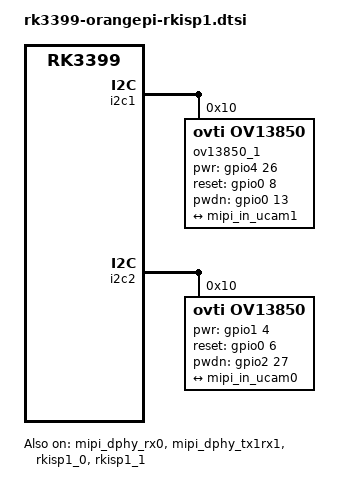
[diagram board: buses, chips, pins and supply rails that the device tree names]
/*
* This program is free software; you can redistribute it and/or
* modify it under the terms of the GNU General Public License
* as published by the Free Software Foundation; either version 2
* of the License, or (at your option) any later version.
*
* This program is distributed in the hope that it will be useful,
* but WITHOUT ANY WARRANTY; without even the implied warranty of
* MERCHANTABILITY or FITNESS FOR A PARTICULAR PURPOSE. See the
* GNU General Public License for more details.
*
* You should have received a copy of the GNU General Public License
* along with this program; if not, you can access it online at
* http://www.gnu.org/licenses/gpl-2.0.html.
*/


&i2c1 {
	 vm149c: vm149c@0c {
                compatible = "silicon touch,vm149c";
                status = "disable";
                reg = <0x0c>;
                rockchip,camera-module-index = <0>;
                rockchip,camera-module-facing = "back";
        };
        ov13850_1: ov13850@10 {
                compatible = "ovti,ov13850";
                status = "okay";
                reg = <0x10>;
                clocks = <&cru SCLK_CIF_OUT>;
                clock-names = "xvclk";

                /* conflict with csi-ctl-gpios */
                pwr-gpios = <&gpio4 26 GPIO_ACTIVE_HIGH>;
                reset-gpios = <&gpio0 8 GPIO_ACTIVE_HIGH>;
                pwdn-gpios = <&gpio0 13 GPIO_ACTIVE_HIGH>;
                pinctrl-names = "rockchip,camera_default";
                pinctrl-0 = <&cif_clkout>;
                rockchip,camera-module-index = <0>;
                rockchip,camera-module-facing = "back";
                rockchip,camera-module-name = "CMK-CT0116";
                rockchip,camera-module-lens-name = "Largan-50013A1";
//		lens-focus = <&vm149c>;

                port {
                        ucam_out1: endpoint {
                                remote-endpoint = <&mipi_in_ucam1>;
                                data-lanes = <1 2>;
                        };
                };
        };
};
&i2c2 {
	 vm149c_1: vm149c@0c {
                compatible = "silicon touch,vm149c";
                status = "disable";
                reg = <0x0c>;
		rockchip,vcm-start-current = <0>;
		rockchip,vcm-rated-current = <100>;
		rockchip,vcm-step-mode = <4>;
                rockchip,camera-module-index = <0>;
                rockchip,camera-module-facing = "back";
        };
        ov13850: ov13850@10 {
                compatible = "ovti,ov13850";
                status = "okay";
                reg = <0x10>;
                clocks = <&cru SCLK_CIF_OUT>;
                clock-names = "xvclk";

                /* conflict with csi-ctl-gpios */
                pwr-gpios = <&gpio1 4 GPIO_ACTIVE_HIGH>;
                reset-gpios = <&gpio0 6 GPIO_ACTIVE_HIGH>;
                pwdn-gpios = <&gpio2 27 GPIO_ACTIVE_HIGH>;
             //   pwr-gpios = <&gpio1 4 GPIO_ACTIVE_HIGH>;
               // reset-gpios = <&gpio0 8 GPIO_ACTIVE_HIGH>;
                //pwdn-gpios = <&gpio2 10 GPIO_ACTIVE_HIGH>;
                pinctrl-names = "rockchip,camera_default";
                pinctrl-0 = <&cif_clkout>;
		rockchip,camera-module-index = <0>;
                rockchip,camera-module-facing = "back";
                rockchip,camera-module-name = "CMK-CT0116";
                rockchip,camera-module-lens-name = "Largan-50013A1";
//		lens-focus = <&vm149c_1>;

                port {
                        ucam_out0: endpoint {
                                remote-endpoint = <&mipi_in_ucam0>;
                                data-lanes = <1 2>;
                        };
                };
        };
};
&mipi_dphy_rx0 {
        status = "okay";

        ports {
                #address-cells = <1>;
                #size-cells = <0>;

                port@0 {
                        reg = <0>;
                        #address-cells = <1>;
                        #size-cells = <0>;

                        mipi_in_ucam0: endpoint@1 {
                                reg = <1>;
                                remote-endpoint = <&ucam_out0>;
                                data-lanes = <1 2>;
                        };
                };

                port@1 {
                        reg = <1>;
                        #address-cells = <1>;
                        #size-cells = <0>;

                        dphy_rx0_out: endpoint@0 {
                                reg = <0>;
                                remote-endpoint = <&isp0_mipi_in>;
                        };
                };
        };
};

&mipi_dphy_tx1rx1 {
        status = "okay";

        ports {
                #address-cells = <1>;
                #size-cells = <0>;

                port@0 {
                        reg = <0>;
                        #address-cells = <1>;
                        #size-cells = <0>;

                        mipi_in_ucam1: endpoint@1 {
                                reg = <1>;
                                remote-endpoint = <&ucam_out1>;
                                data-lanes = <1 2>;
                        };
                };

                port@1 {
                        reg = <1>;
                        #address-cells = <1>;
                        #size-cells = <0>;

                        dphy_tx1rx1_out: endpoint@0 {
                                reg = <0>;
                                remote-endpoint = <&isp1_mipi_in>;
                        };
                };
        };
};

&rkisp1_0 {
        status = "okay";

        port {
                #address-cells = <1>;
                #size-cells = <0>;

                isp0_mipi_in: endpoint@0 {
                        reg = <0>;
                        remote-endpoint = <&dphy_rx0_out>;
                };
        };
};

&rkisp1_1 {
        status = "okay";

        port {
                #address-cells = <1>;
                #size-cells = <0>;

                isp1_mipi_in: endpoint@0 {
                        reg = <0>;
                        remote-endpoint = <&dphy_tx1rx1_out>;
                };
        };
};
&isp0_mmu {
        status = "okay";
};
&isp1_mmu {
        status = "okay";
};
